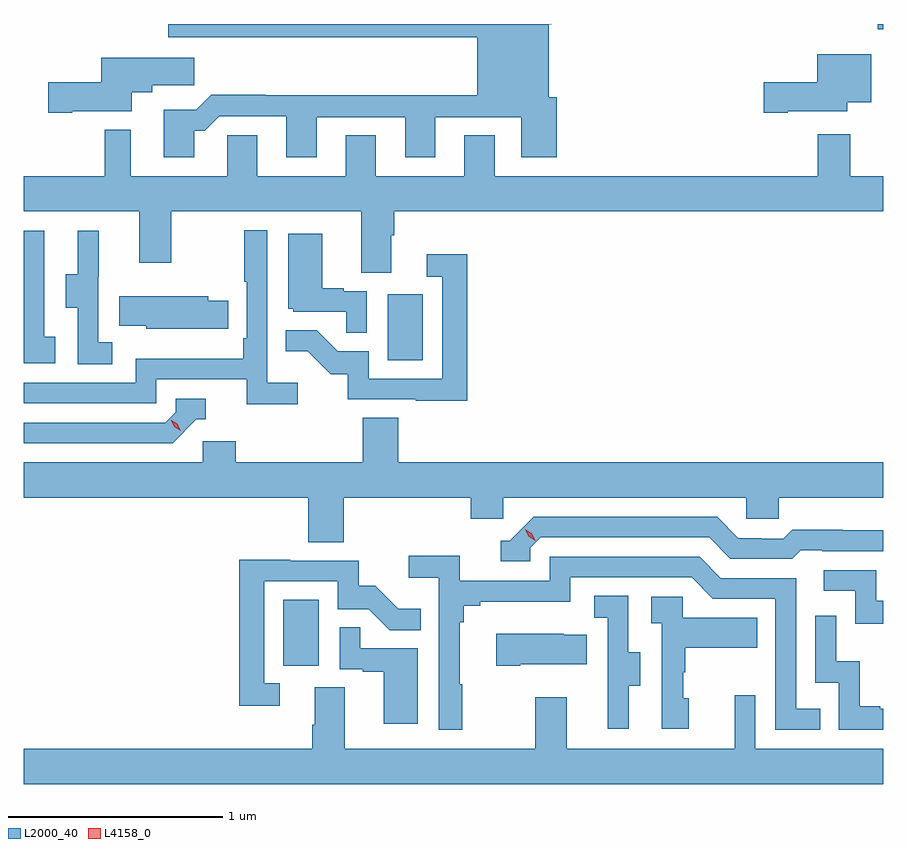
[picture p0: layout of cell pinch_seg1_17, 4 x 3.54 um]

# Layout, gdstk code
import gdstk
lib = gdstk.Library(unit=1e-6, precision=1e-09)
def R(c, l, rs):  # rectangles x0, y0, x1, y1
    for r in rs: c.add(gdstk.rectangle(r[:2], r[2:], *l))
def P(c, l, *ps):  # polygons
    for p in ps: c.add(gdstk.Polygon(p, *l))
L2000_40 = (2000, 40)
L4158_0 = (4158, 0)

pinch_seg1_17 = lib.new_cell('pinch_seg1_17')
R(pinch_seg1_17, L2000_40, [(1119.92,574.926,1120.084,575.233), (1120.406,576.348,1120.57,576.655), (1122.687,577.887,1122.712,577.912)])
P(pinch_seg1_17, L2000_40, [(1119.505,577.415),(1119.554,577.415),(1119.621,577.482),(1119.935,577.482),(1119.935,577.293),(1120.075,577.293),(1120.075,577.479),(1120.487,577.479),(1120.487,577.293),(1120.627,577.293),(1120.627,577.479),(1121.027,577.479),(1121.027,577.293),(1121.192,577.293),(1121.192,577.572),(1121.155,577.572),(1121.155,577.91),(1121.168,577.91),(1121.168,577.912),(1119.386,577.912),(1119.386,577.85),(1120.823,577.85),(1120.823,577.58),(1119.839,577.58),(1119.839,577.583),(1119.584,577.583),(1119.514,577.513),(1119.365,577.513),(1119.365,577.293),(1119.505,577.293)],
  [(1122.268,577.505),(1122.544,577.505),(1122.544,577.547),(1122.655,577.547),(1122.655,577.771),(1122.404,577.771),(1122.404,577.64),(1122.156,577.64),(1122.156,577.498),(1122.268,577.498)],
  [(1118.938,577.505),(1119.214,577.505),(1119.214,577.595),(1119.31,577.595),(1119.31,577.627),(1119.505,577.627),(1119.505,577.756),(1119.074,577.756),(1119.074,577.64),(1118.826,577.64),(1118.826,577.498),(1118.938,577.498)],
  [(1120.423,576.928),(1120.436,576.928),(1120.436,577.04),(1122.712,577.04),(1122.712,577.204),(1122.559,577.204),(1122.559,577.399),(1122.407,577.399),(1122.407,577.204),(1120.903,577.204),(1120.903,577.394),(1120.763,577.394),(1120.763,577.204),(1120.351,577.204),(1120.351,577.394),(1120.211,577.394),(1120.211,577.204),(1119.799,577.204),(1119.799,577.394),(1119.66,577.394),(1119.66,577.204),(1119.211,577.204),(1119.211,577.42),(1119.09,577.42),(1119.09,577.204),(1118.712,577.204),(1118.712,577.04),(1119.251,577.04),(1119.251,576.801),(1119.399,576.801),(1119.399,577.04),(1120.283,577.04),(1120.283,576.754),(1120.423,576.754)],
  [(1119.988,576.244),(1119.846,576.244),(1119.846,576.952),(1119.738,576.952),(1119.738,576.712),(1119.75,576.712),(1119.75,576.451),(1119.733,576.451),(1119.733,576.355),(1119.234,576.355),(1119.234,576.243),(1118.712,576.243),(1118.712,576.147),(1119.33,576.147),(1119.33,576.258),(1119.749,576.258),(1119.749,576.142),(1119.988,576.142)],
  [(1118.86,576.458),(1118.808,576.458),(1118.808,576.949),(1118.712,576.949),(1118.712,576.333),(1118.86,576.333)],
  [(1119.124,576.431),(1119.06,576.431),(1119.06,576.735),(1119.062,576.735),(1119.062,576.949),(1118.963,576.949),(1118.963,576.747),(1118.909,576.747),(1118.909,576.592),(1118.964,576.592),(1118.964,576.328),(1119.124,576.328)],
  [(1120.308,576.669),(1120.202,576.669),(1120.202,576.682),(1120.102,576.682),(1120.102,576.937),(1119.944,576.937),(1119.944,576.588),(1119.966,576.588),(1119.966,576.573),(1120.213,576.573),(1120.213,576.475),(1120.308,576.475)],
  [(1120.775,576.841),(1120.587,576.841),(1120.587,576.735),(1120.659,576.735),(1120.659,576.261),(1120.317,576.261),(1120.317,576.39),(1120.173,576.39),(1120.075,576.488),(1119.931,576.488),(1119.931,576.389),(1120.035,576.389),(1120.142,576.282),(1120.219,576.282),(1120.219,576.165),(1120.537,576.165),(1120.537,576.16),(1120.775,576.16)],
  [(1119.554,576.495),(1119.665,576.495),(1119.665,576.624),(1119.571,576.624),(1119.571,576.646),(1119.157,576.646),(1119.157,576.509),(1119.282,576.509),(1119.282,576.494),(1119.554,576.494)],
  [(1119.516,576.072),(1119.559,576.072),(1119.559,576.168),(1119.42,576.168),(1119.42,576.105),(1119.372,576.057),(1118.712,576.057),(1118.712,575.961),(1119.405,575.961)],
  [(1119.546,575.97),(1119.546,575.872),(1118.712,575.872),(1118.712,575.708),(1120.037,575.708),(1120.037,575.5),(1120.202,575.5),(1120.202,575.708),(1120.793,575.708),(1120.793,575.61),(1120.944,575.61),(1120.944,575.708),(1122.075,575.708),(1122.075,575.61),(1122.225,575.61),(1122.225,575.708),(1122.712,575.708),(1122.712,575.872),(1120.454,575.872),(1120.454,576.08),(1120.289,576.08),(1120.289,575.872),(1119.698,575.872),(1119.698,575.97)],
  [(1121.07,575.475),(1121.118,575.523),(1121.901,575.523),(1122,575.424),(1122.289,575.424),(1122.328,575.463),(1122.427,575.463),(1122.427,575.46),(1122.712,575.46),(1122.712,575.557),(1122.522,575.557),(1122.522,575.56),(1122.289,575.56),(1122.247,575.517),(1122.144,575.517),(1122.144,575.52),(1122.037,575.52),(1121.938,575.619),(1121.085,575.619),(1120.974,575.508),(1120.931,575.508),(1120.931,575.412),(1121.07,575.412)],
  [(1120.753,574.841),(1120.741,574.841),(1120.741,575.129),(1120.76,575.129),(1120.76,575.206),(1120.837,575.206),(1120.837,575.225),(1121.256,575.225),(1121.256,575.337),(1121.82,575.337),(1121.919,575.238),(1122.21,575.238),(1122.21,574.629),(1122.419,574.629),(1122.419,574.725),(1122.306,574.725),(1122.306,575.334),(1121.956,575.334),(1121.857,575.433),(1121.16,575.433),(1121.16,575.322),(1120.742,575.322),(1120.742,575.438),(1120.503,575.438),(1120.503,575.336),(1120.644,575.336),(1120.644,574.629),(1120.753,574.629)],
  [(1119.904,574.845),(1119.831,574.845),(1119.831,575.319),(1120.173,575.319),(1120.173,575.19),(1120.317,575.19),(1120.415,575.092),(1120.559,575.092),(1120.559,575.191),(1120.455,575.191),(1120.348,575.298),(1120.272,575.298),(1120.272,575.415),(1119.953,575.415),(1119.953,575.42),(1119.715,575.42),(1119.715,574.74),(1119.904,574.74)],
  [(1122.712,575.229),(1122.678,575.229),(1122.678,575.37),(1122.435,575.37),(1122.435,575.274),(1122.582,575.274),(1122.582,575.121),(1122.712,575.121)],
  [(1121.527,574.834),(1121.581,574.834),(1121.581,574.989),(1121.526,574.989),(1121.526,575.252),(1121.367,575.252),(1121.367,575.149),(1121.43,575.149),(1121.43,574.845),(1121.429,574.845),(1121.429,574.632),(1121.527,574.632)],
  [(1121.806,574.776),(1121.781,574.776),(1121.781,574.895),(1121.791,574.895),(1121.791,575.009),(1122.125,575.009),(1122.125,575.149),(1121.778,575.149),(1121.778,575.247),(1121.631,575.247),(1121.631,575.123),(1121.682,575.123),(1121.682,574.632),(1121.806,574.632)],
  [(1122.712,574.725),(1122.697,574.725),(1122.697,574.738),(1122.602,574.738),(1122.602,574.946),(1122.492,574.946),(1122.492,575.158),(1122.396,575.158),(1122.396,574.848),(1122.504,574.848),(1122.504,574.629),(1122.712,574.629)],
  [(1120.546,575.007),(1120.277,575.007),(1120.277,575.105),(1120.182,575.105),(1120.182,574.911),(1120.289,574.911),(1120.289,574.899),(1120.388,574.899),(1120.388,574.656),(1120.546,574.656)],
  [(1121.023,574.934),(1121.333,574.934),(1121.333,575.071),(1121.225,575.071),(1121.225,575.074),(1120.911,575.074),(1120.911,574.927),(1121.023,574.927)],
  [(1122.712,574.54),(1122.117,574.54),(1122.117,574.789),(1122.02,574.789),(1122.02,574.54),(1121.239,574.54),(1121.239,574.78),(1121.092,574.78),(1121.092,574.54),(1120.207,574.54),(1120.207,574.826),(1120.067,574.826),(1120.067,574.652),(1120.055,574.652),(1120.055,574.54),(1118.712,574.54),(1118.712,574.376),(1122.712,574.376)])
P(pinch_seg1_17, L4158_0, [(1121.093,575.508),(1121.062,575.528),(1121.046,575.56),(1121.046,575.561),(1121.046,575.561),(1121.077,575.541),(1121.093,575.509),(1121.093,575.508)],
  [(1119.443,576.019),(1119.412,576.038),(1119.396,576.071),(1119.396,576.071),(1119.396,576.071),(1119.427,576.052),(1119.443,576.019),(1119.443,576.019)])

lib.write_gds('pinch_seg1_17.gds')
